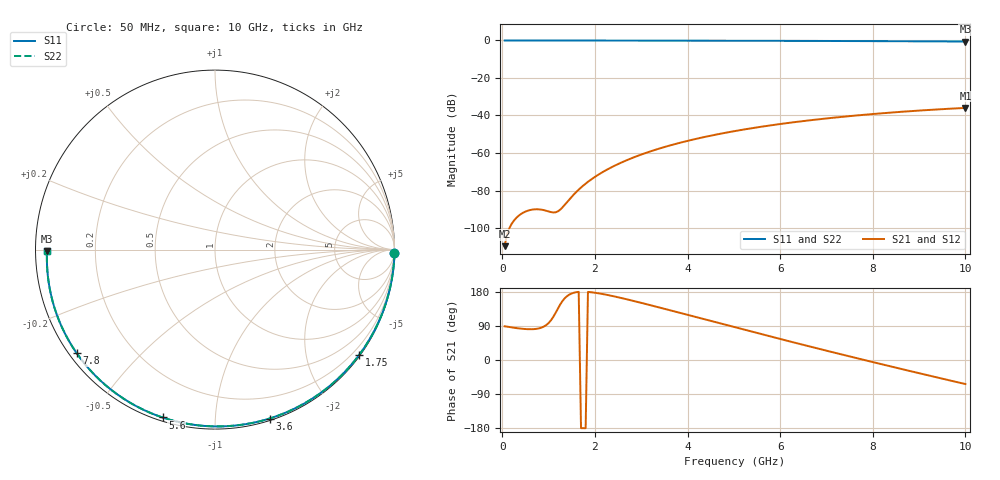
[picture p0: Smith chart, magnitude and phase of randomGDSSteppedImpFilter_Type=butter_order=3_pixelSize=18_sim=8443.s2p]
! freq	dB(S11)	phase(S11)	dB(S12)	phase(S12)
!  dB(S21)	phase(S21)	dB(S22)	phase(S22)
!S-par simulation data
#  GHz  S  DB  R 50
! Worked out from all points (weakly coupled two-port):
!   200 points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, 50 MHz to 10 GHz, reference 50 ohm
!   highest |S21| = -35.97 dB at 10 GHz (marker M1); lowest = -109.7 dB at 50 MHz (marker M2)
!   lowest |S11| = -0.6 dB at 10 GHz (marker M3), VSWR 30.21, Z = 1.66 - j0.216 ohm
!   |S11| at or under -10 dB: nowhere
!   |S22| runs from -0.6 to 0.0 dB; largest |S21 - S12| = 0
!   S11 on the Smith chart (normalised r, x): 50 MHz: open; 1.75 GHz: 0.03, -3.05; 3.6 GHz: 0.02, -1.37; 5.6 GHz: 0.02, -0.74; 7.8 GHz: 0.02, -0.33; 10 GHz: 0.03, -0.00
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0.05  -0.00 -1.1  -109.68 89.0  -109.68 89.0  -0.00 -1.1
0.4  -0.01 -8.4  -92.59 82.8  -92.59 82.8  -0.01 -8.4
0.8  -0.02 -16.8  -90.06 83.7  -90.06 83.7  -0.02 -16.8
1.6  -0.04 -33.2  -80.71 179.0  -80.71 179.0  -0.04 -33.2
1.65  -0.04 -34.2  -79.52 179.8  -79.52 179.8  -0.04 -34.2
1.75  -0.05 -36.3  -77.34 -179.8  -77.34 -179.8  -0.05 -36.2
1.9  -0.05 -39.3  -74.45 179.1  -74.45 179.1  -0.05 -39.2
2.05  -0.05 -42.3  -71.94 176.6  -71.94 176.6  -0.05 -42.2
2.25  -0.06 -46.2  -69.02 172.2  -69.02 172.2  -0.06 -46.2
2.45  -0.06 -50.2  -66.49 167.0  -66.49 167.0  -0.06 -50.1
2.9  -0.08 -58.9  -61.74 153.9  -61.74 153.9  -0.08 -58.9
3.4  -0.09 -68.4  -57.56 138.3  -57.56 138.3  -0.09 -68.3
3.6  -0.10 -72.1  -56.12 132.0  -56.12 132.0  -0.10 -72.1
4.3  -0.12 -84.8  -51.82 109.5  -51.82 109.5  -0.12 -84.8
5.05  -0.15 -98.0  -48.18 85.5  -48.18 85.5  -0.15 -97.9
5.6  -0.18 -107.3  -45.97 68.0  -45.97 68.0  -0.18 -107.3
6.15  -0.21 -116.5  -44.06 50.8  -44.06 50.8  -0.21 -116.4
6.7  -0.24 -125.5  -42.39 33.8  -42.39 33.8  -0.24 -125.4
7.8  -0.33 -143.3  -39.65 0.5  -39.65 0.5  -0.33 -143.2
8.35  -0.38 -152.1  -38.53 -15.9  -38.53 -15.9  -0.38 -152.1
9.2  -0.48 -166.0  -37.06 -40.6  -37.06 -40.6  -0.47 -165.9
10  -0.58 -179.5  -35.97 -63.5  -35.97 -63.5  -0.57 -179.4
